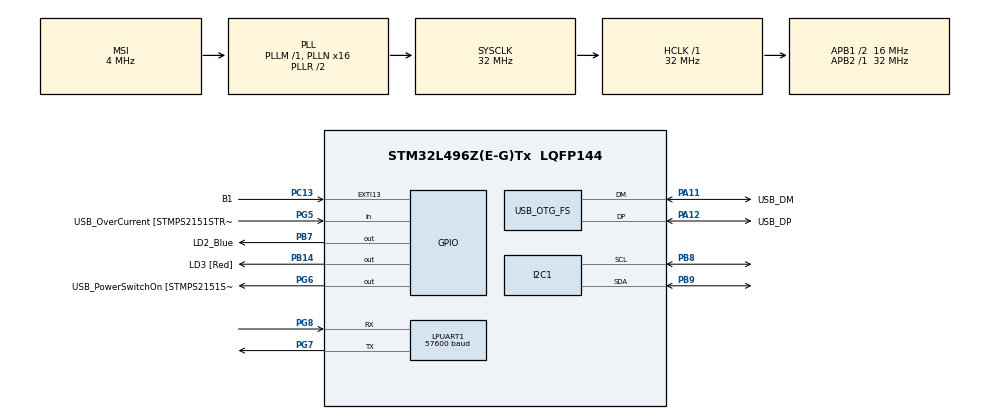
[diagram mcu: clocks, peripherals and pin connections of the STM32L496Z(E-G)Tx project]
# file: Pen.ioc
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I2C1.Timing=0x00303D5B
LPUART1.BaudRate=57600
LPUART1.WordLength=UART_WORDLENGTH_8B
Mcu.Family=STM32L4
Mcu.Name=STM32L496Z(E-G)Tx
Mcu.Package=LQFP144
NVIC.LPUART1_IRQn=true\:0\:0\:false\:false\:true\:true\:true\:true
NVIC.PriorityGroup=NVIC_PRIORITYGROUP_4
PA10.GPIO_Label=USB_ID
PA10.Signal=USB_OTG_FS_ID
PA11.GPIO_Label=USB_DM
PA11.Mode=Device_Only
PA11.Signal=USB_OTG_FS_DM
PA12.GPIO_Label=USB_DP
PA12.Mode=Device_Only
PA12.Signal=USB_OTG_FS_DP
PA13\ (JTMS/SWDIO).GPIO_Label=TMS
PA13\ (JTMS/SWDIO).Mode=Trace_Asynchronous_SW
PA13\ (JTMS/SWDIO).Signal=SYS_JTMS-SWDIO
PA14\ (JTCK/SWCLK).GPIO_Label=TCK
PA14\ (JTCK/SWCLK).Mode=Trace_Asynchronous_SW
PA14\ (JTCK/SWCLK).Signal=SYS_JTCK-SWCLK
PA8.GPIO_Label=USB_SOF [TP1]
PA8.Signal=USB_OTG_FS_SOF
PA9.GPIO_Label=USB_VBUS
PA9.Signal=USB_OTG_FS_VBUS
PB14.GPIO_Label=LD3 [Red]
PB14.Signal=GPIO_Output
PB3\ (JTDO/TRACESWO).GPIO_Label=SWO
PB3\ (JTDO/TRACESWO).Mode=Trace_Asynchronous_SW
PB3\ (JTDO/TRACESWO).Signal=SYS_JTDO-SWO
PB7.GPIO_Label=LD2_Blue
PB7.Signal=GPIO_Output
PB8.Mode=I2C
PB8.Signal=I2C1_SCL
PB9.Mode=I2C
PB9.Signal=I2C1_SDA
PC13.GPIO_Label=B1
PC13.Signal=GPXTI13
PC14-OSC32_IN\ (PC14).Mode=LSE-External-Oscillator
PC14-OSC32_IN\ (PC14).Signal=RCC_OSC32_IN
PC15-OSC32_OUT\ (PC15).Mode=LSE-External-Oscillator
PC15-OSC32_OUT\ (PC15).Signal=RCC_OSC32_OUT
PG5.GPIO_Label=USB_OverCurrent [STMPS2151STR_FAULT]
PG5.Signal=GPIO_Input
PG6.GPIO_Label=USB_PowerSwitchOn [STMPS2151STR_EN]
PG6.Signal=GPIO_Output
PG7.GPIO_Mode=GPIO_MODE_AF_PP
PG7.GPIO_PuPd=GPIO_NOPULL
PG7.GPIO_Speed=GPIO_SPEED_FREQ_VERY_HIGH
PG7.Mode=Asynchronous
PG7.Signal=LPUART1_TX
PG8.GPIO_Mode=GPIO_MODE_AF_PP
PG8.GPIO_PuPd=GPIO_NOPULL
PG8.GPIO_Speed=GPIO_SPEED_FREQ_VERY_HIGH
PG8.Mode=Asynchronous
PG8.Signal=LPUART1_RX
PH1-OSC_OUT\ (PH1).Signal=RCC_OSC_OUT
ProjectManager.HeapSize=0x200
ProjectManager.StackSize=0x400
ProjectManager.TargetToolchain=STM32CubeIDE
RCC.48MHZClocksFreq_Value=24000000
RCC.ADCFreq_Value=48000000
RCC.AHBFreq_Value=32000000
RCC.APB1CLKDivider=RCC_HCLK_DIV2
RCC.APB1Freq_Value=16000000
RCC.APB1TimFreq_Value=32000000
RCC.APB2Freq_Value=32000000
RCC.APB2TimFreq_Value=32000000
RCC.CortexFreq_Value=32000000
RCC.HCLKFreq_Value=32000000
RCC.HSE_VALUE=8000000
RCC.HSI48_VALUE=48000000
RCC.HSI_VALUE=16000000
RCC.MSI_VALUE=4000000
RCC.PLLMUL=RCC_PLL_MUL9
RCC.PLLN=16
RCC.PLLSAI1N=24
RCC.PRESCALERUSB=RCC_USBCLKSOURCE_PLL_DIV1_5
RCC.SYSCLKFreq_VALUE=32000000
RCC.SYSCLKSource=RCC_SYSCLKSOURCE_PLLCLK
RCC.SYSCLKSourceVirtual=RCC_SYSCLKSOURCE_PLLCLK
RCC.USBFreq_Value=48000000
RCC.VCOOutputFreq_Value=64000000
USB_OTG_FS.VirtualMode=Device_Only
board=NUCLEO-L496ZG

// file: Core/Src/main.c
/* USER CODE BEGIN Header */
/**
  ******************************************************************************
  * @file           : main.c
  * @brief          : Main program body
  ******************************************************************************
  * @attention
  *
  * Copyright (c) 2023 STMicroelectronics.
  * All rights reserved.
  *
  * This software is licensed under terms that can be found in the LICENSE file
  * in the root directory of this software component.
  * If no LICENSE file comes with this software, it is provided AS-IS.
  *
  ******************************************************************************
  */
/* USER CODE END Header */
#include "main.h"

/* USER CODE BEGIN Includes */

#include <stdio.h>
#include <stdarg.h>
#include "bno055_stm32.h"

/* USER CODE END Includes */

I2C_HandleTypeDef hi2c1;

UART_HandleTypeDef hlpuart1;

PCD_HandleTypeDef hpcd_USB_OTG_FS;

void SystemClock_Config(void);
static void MX_GPIO_Init(void);
static void MX_USB_OTG_FS_PCD_Init(void);
static void MX_LPUART1_UART_Init(void);
static void MX_I2C1_Init(void);
/* USER CODE BEGIN PFP */
#define PUTCHAR_PROTOTYPE int __io_putchar(int ch)
#define RECBUFN 1024
static uint8_t recbuf[RECBUFN];
static uint32_t recbufr = 0, recbufw = 0;

   //Support code (copy&paste):

/* USER CODE END PFP */

/* USER CODE BEGIN 0 */
uint8_t data[200];

/* USER CODE END 0 */

int main(void)
{
  /* USER CODE BEGIN 1 */
	uint8_t MSG[7] = {'h', 'e', 'l', 'l', 'o', '\r', '\n'};
	uint8_t buffer[35] = {'\0'};
	  uint8_t X = 0;

  /* USER CODE END 1 */

  /* MCU Configuration--------------------------------------------------------*/

  /* Reset of all peripherals, Initializes the Flash interface and the Systick. */
  HAL_Init();

  /* Configure the system clock */
  SystemClock_Config();

  /* Initialize all configured peripherals */
  MX_GPIO_Init();
  MX_USB_OTG_FS_PCD_Init();
  MX_LPUART1_UART_Init();
  MX_I2C1_Init();
  /* USER CODE BEGIN 2 */
  bno055_assignI2C(&hi2c1);
	bno055_setup();
	bno055_setOperationModeNDOF();
  for (int i=0; i<200; i++)
   {
     data[i] = 'i';
   }

  /* USER CODE END 2 */

  /* Infinite loop */
  while (1)
  {

    /* USER CODE BEGIN 3 */
	  //HAL_GPIO_TogglePin (GPIOB, LD2_Blue_Pin);
	  //HAL_Delay (100);
	  //printf("HELLO\r\n");

	  //sprintf(buffer, "Hello! X = %d\r\n", X);
	  //HAL_Delay(100);
	   //HAL_UART_Transmit(&huart2, buffer, sizeof(buffer), 1000);
	   //X++;
	   //HAL_UART_Transmit(&hlpuart1, data, sizeof (data), 1000);
	  /*
	  int i = mygetch();
	  if (i >= 0)
	  {
		  if (i == 'a')
			  myprintf("Hello\n");
		  else
			  myprintf("you typed '%c'\n",i);
	  }*/

	  //bno055_vector_t v = bno055_getVectorEuler();
	  myprintf("hello world!");
	  //myprintf("Heading: %d Roll: %d Pitch: %d\r\n", (int)(v.x * 100), (int)(v.y * 100), (int)(v.z * 100));
	  //v = bno055_getVectorQuaternion();
	  //myprintf("W: %d X: %d Y: %d Z: %d\r\n", (int)(v.w * 100), (int)(v.x * 100), (int)(v.y * 100), (int)(v.z * 100));
	  HAL_Delay(100);
  }
  /* USER CODE END 3 */
}

void SystemClock_Config(void)
{
  RCC_OscInitTypeDef RCC_OscInitStruct = {0};
  RCC_ClkInitTypeDef RCC_ClkInitStruct = {0};

  /** Configure the main internal regulator output voltage
  */
  if (HAL_PWREx_ControlVoltageScaling(PWR_REGULATOR_VOLTAGE_SCALE1) != HAL_OK)
  {
    Error_Handler();
  }

  /** Configure LSE Drive Capability
  */
  HAL_PWR_EnableBkUpAccess();
  __HAL_RCC_LSEDRIVE_CONFIG(RCC_LSEDRIVE_LOW);

  /** Initializes the RCC Oscillators according to the specified parameters
  * in the RCC_OscInitTypeDef structure.
  */
  RCC_OscInitStruct.OscillatorType = RCC_OSCILLATORTYPE_LSE|RCC_OSCILLATORTYPE_MSI;
  RCC_OscInitStruct.LSEState = RCC_LSE_ON;
  RCC_OscInitStruct.MSIState = RCC_MSI_ON;
  RCC_OscInitStruct.MSICalibrationValue = 0;
  RCC_OscInitStruct.MSIClockRange = RCC_MSIRANGE_6;
  RCC_OscInitStruct.PLL.PLLState = RCC_PLL_ON;
  RCC_OscInitStruct.PLL.PLLSource = RCC_PLLSOURCE_MSI;
  RCC_OscInitStruct.PLL.PLLM = 1;
  RCC_OscInitStruct.PLL.PLLN = 16;
  RCC_OscInitStruct.PLL.PLLP = RCC_PLLP_DIV2;
  RCC_OscInitStruct.PLL.PLLQ = RCC_PLLQ_DIV2;
  RCC_OscInitStruct.PLL.PLLR = RCC_PLLR_DIV2;
  if (HAL_RCC_OscConfig(&RCC_OscInitStruct) != HAL_OK)
  {
    Error_Handler();
  }

  /** Initializes the CPU, AHB and APB buses clocks
  */
  RCC_ClkInitStruct.ClockType = RCC_CLOCKTYPE_HCLK|RCC_CLOCKTYPE_SYSCLK
                              |RCC_CLOCKTYPE_PCLK1|RCC_CLOCKTYPE_PCLK2;
  RCC_ClkInitStruct.SYSCLKSource = RCC_SYSCLKSOURCE_PLLCLK;
  RCC_ClkInitStruct.AHBCLKDivider = RCC_SYSCLK_DIV1;
  RCC_ClkInitStruct.APB1CLKDivider = RCC_HCLK_DIV2;
  RCC_ClkInitStruct.APB2CLKDivider = RCC_HCLK_DIV1;

  if (HAL_RCC_ClockConfig(&RCC_ClkInitStruct, FLASH_LATENCY_1) != HAL_OK)
  {
    Error_Handler();
  }

  /** Enable MSI Auto calibration
  */
  HAL_RCCEx_EnableMSIPLLMode();
}

static void MX_I2C1_Init(void)
{

  hi2c1.Instance = I2C1;
  hi2c1.Init.Timing = 0x00303D5B;
  hi2c1.Init.OwnAddress1 = 0;
  hi2c1.Init.AddressingMode = I2C_ADDRESSINGMODE_7BIT;
  hi2c1.Init.DualAddressMode = I2C_DUALADDRESS_DISABLE;
  hi2c1.Init.OwnAddress2 = 0;
  hi2c1.Init.OwnAddress2Masks = I2C_OA2_NOMASK;
  hi2c1.Init.GeneralCallMode = I2C_GENERALCALL_DISABLE;
  hi2c1.Init.NoStretchMode = I2C_NOSTRETCH_DISABLE;
  if (HAL_I2C_Init(&hi2c1) != HAL_OK)
  {
    Error_Handler();
  }

  /** Configure Analogue filter
  */
  if (HAL_I2CEx_ConfigAnalogFilter(&hi2c1, I2C_ANALOGFILTER_ENABLE) != HAL_OK)
  {
    Error_Handler();
  }

  /** Configure Digital filter
  */
  if (HAL_I2CEx_ConfigDigitalFilter(&hi2c1, 0) != HAL_OK)
  {
    Error_Handler();
  }

}

static void MX_LPUART1_UART_Init(void)
{

  hlpuart1.Instance = LPUART1;
  hlpuart1.Init.BaudRate = 57600;
  hlpuart1.Init.WordLength = UART_WORDLENGTH_8B;
  hlpuart1.Init.StopBits = UART_STOPBITS_1;
  hlpuart1.Init.Parity = UART_PARITY_NONE;
  hlpuart1.Init.Mode = UART_MODE_TX_RX;
  hlpuart1.Init.HwFlowCtl = UART_HWCONTROL_NONE;
  hlpuart1.Init.OneBitSampling = UART_ONE_BIT_SAMPLE_DISABLE;
  hlpuart1.AdvancedInit.AdvFeatureInit = UART_ADVFEATURE_NO_INIT;
  if (HAL_UART_Init(&hlpuart1) != HAL_OK)
  {
    Error_Handler();
  }

}

static void MX_USB_OTG_FS_PCD_Init(void)
{

  hpcd_USB_OTG_FS.Instance = USB_OTG_FS;
  hpcd_USB_OTG_FS.Init.dev_endpoints = 6;
  hpcd_USB_OTG_FS.Init.speed = PCD_SPEED_FULL;
  hpcd_USB_OTG_FS.Init.phy_itface = PCD_PHY_EMBEDDED;
  hpcd_USB_OTG_FS.Init.Sof_enable = DISABLE;
  hpcd_USB_OTG_FS.Init.low_power_enable = DISABLE;
  hpcd_USB_OTG_FS.Init.lpm_enable = DISABLE;
  hpcd_USB_OTG_FS.Init.battery_charging_enable = DISABLE;
  hpcd_USB_OTG_FS.Init.use_dedicated_ep1 = DISABLE;
  hpcd_USB_OTG_FS.Init.vbus_sensing_enable = DISABLE;
  if (HAL_PCD_Init(&hpcd_USB_OTG_FS) != HAL_OK)
  {
    Error_Handler();
  }

}

static void MX_GPIO_Init(void)
{
  GPIO_InitTypeDef GPIO_InitStruct = {0};

  /* GPIO Ports Clock Enable */
  __HAL_RCC_GPIOC_CLK_ENABLE();
  __HAL_RCC_GPIOH_CLK_ENABLE();
  __HAL_RCC_GPIOB_CLK_ENABLE();
  __HAL_RCC_GPIOG_CLK_ENABLE();
  HAL_PWREx_EnableVddIO2();
  __HAL_RCC_GPIOA_CLK_ENABLE();

  /*Configure GPIO pin Output Level */
  HAL_GPIO_WritePin(GPIOB, LD3_Pin|LD2_Blue_Pin, GPIO_PIN_RESET);

  /*Configure GPIO pin Output Level */
  HAL_GPIO_WritePin(USB_PowerSwitchOn_GPIO_Port, USB_PowerSwitchOn_Pin, GPIO_PIN_RESET);

  /*Configure GPIO pin : B1_Pin */
  GPIO_InitStruct.Pin = B1_Pin;
  GPIO_InitStruct.Mode = GPIO_MODE_IT_RISING;
  GPIO_InitStruct.Pull = GPIO_NOPULL;
  HAL_GPIO_Init(B1_GPIO_Port, &GPIO_InitStruct);

  /*Configure GPIO pins : LD3_Pin LD2_Blue_Pin */
  GPIO_InitStruct.Pin = LD3_Pin|LD2_Blue_Pin;
  GPIO_InitStruct.Mode = GPIO_MODE_OUTPUT_PP;
  GPIO_InitStruct.Pull = GPIO_NOPULL;
  GPIO_InitStruct.Speed = GPIO_SPEED_FREQ_LOW;
  HAL_GPIO_Init(GPIOB, &GPIO_InitStruct);

  /*Configure GPIO pin : USB_OverCurrent_Pin */
  GPIO_InitStruct.Pin = USB_OverCurrent_Pin;
  GPIO_InitStruct.Mode = GPIO_MODE_INPUT;
  GPIO_InitStruct.Pull = GPIO_NOPULL;
  HAL_GPIO_Init(USB_OverCurrent_GPIO_Port, &GPIO_InitStruct);

  /*Configure GPIO pin : USB_PowerSwitchOn_Pin */
  GPIO_InitStruct.Pin = USB_PowerSwitchOn_Pin;
  GPIO_InitStruct.Mode = GPIO_MODE_OUTPUT_PP;
  GPIO_InitStruct.Pull = GPIO_NOPULL;
  GPIO_InitStruct.Speed = GPIO_SPEED_FREQ_LOW;
  HAL_GPIO_Init(USB_PowerSwitchOn_GPIO_Port, &GPIO_InitStruct);

}

/* USER CODE BEGIN 4 */
PUTCHAR_PROTOTYPE
{
  /* Place your implementation of fputc here */
  /* e.g. write a character to the USART1 and Loop until the end of transmission */
  HAL_UART_Transmit(&hlpuart1, (uint8_t *)&ch, 1, 0xFFFF);

  return ch;
}

void mywrite (unsigned char *st, int nby)
{
   if (nby) HAL_UART_Transmit(&hlpuart1,st,nby,10);
}
void myprintf (const char *fmt, ...)
{
   va_list arglist;
   int nby;
   unsigned char st[256];

   if (!fmt) return;
   va_start(arglist,fmt);
   nby = vsnprintf((char *)st,sizeof(st),fmt,arglist);
   va_end(arglist);
   if (nby < 0) { nby = sizeof(st)-1; } //print truncated string in case too long
   if (nby) HAL_UART_Transmit(&hlpuart1,st,nby,10);
}
/*
int mygetch (void)
{
   uint8_t ch = 0;
   if (HAL_UART_Receive(&hlpuart1, (uint8_t *)&ch, 1, 0) == HAL_OK) return ch;
   return -1; //HAL_TIMEOUT
}
*/

void HAL_UART_RxCpltCallback (UART_HandleTypeDef *huart)
{
	recbufw++;
	HAL_UART_Receive_IT(&hlpuart1,&recbuf[recbufw&(RECBUFN-1)],1);
}

void uart_init (void)
{
	HAL_UART_Receive_IT(&hlpuart1,&recbuf[recbufw&(RECBUFN-1)] ,1);
}
//start recv ints

int mygetch (void)
{
   //if (!(USART3->CR3&1)) //This hack stops UART recv stream from freezing randomly from overruns
   //   { HAL_UART_Receive_IT(&hlp,&recbuf[recbufw&(RECBUFN-1)],1); }
   if (recbufr == recbufw) return(-1);
   recbufr++; return(recbuf[(recbufr-1)&(RECBUFN-1)]);
}

/* USER CODE END 4 */

void Error_Handler(void)
{
  __disable_irq();
  while (1)
  {
  }
}
